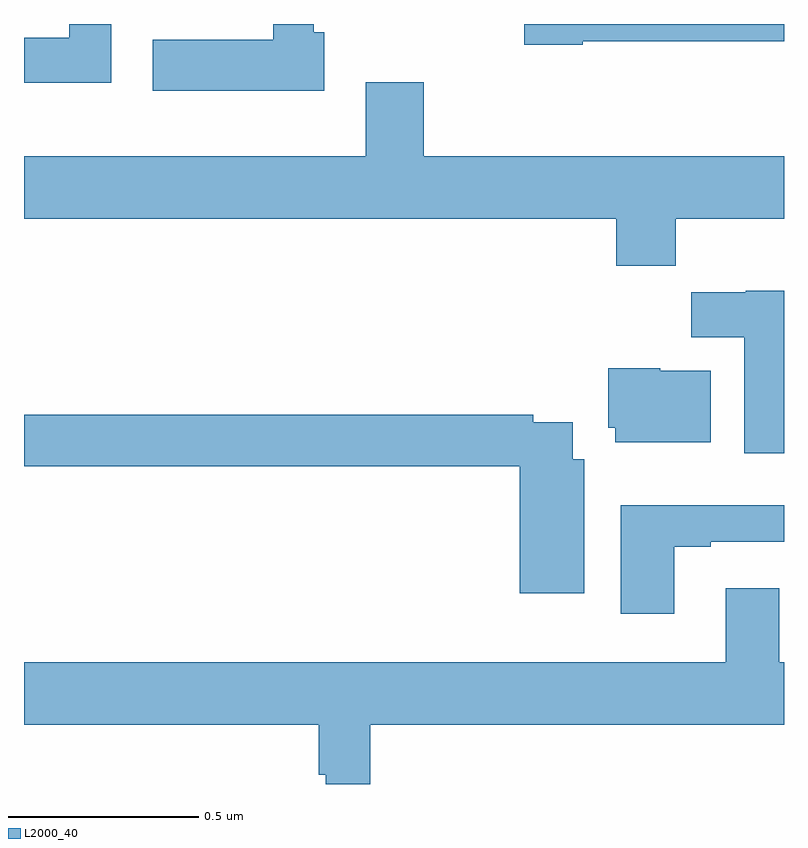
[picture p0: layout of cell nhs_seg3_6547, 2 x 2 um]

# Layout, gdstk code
import gdstk
lib = gdstk.Library(unit=1e-6, precision=1e-09)
def P(c, l, *ps):  # polygons
    for p in ps: c.add(gdstk.Polygon(p, *l))
L2000_40 = (2000, 40)

nhs_seg3_6547 = lib.new_cell('nhs_seg3_6547')
P(nhs_seg3_6547, L2000_40, [(192.229,729.4),(192.119,729.4),(192.119,729.364),(192,729.364),(192,729.246),(192.229,729.246)],
  [(192.79,729.378),(192.763,729.378),(192.763,729.4),(192.656,729.4),(192.656,729.358),(192.339,729.358),(192.339,729.224),(192.79,729.224)],
  [(193.47,729.354),(194,729.354),(194,729.4),(193.316,729.4),(193.316,729.346),(193.47,729.346)],
  [(193.715,728.888),(194,728.888),(194,729.052),(193.052,729.052),(193.052,729.247),(192.899,729.247),(192.899,729.052),(192,729.052),(192,728.888),(193.559,728.888),(193.559,728.764),(193.715,728.764)],
  [(194,728.698),(193.899,728.698),(193.899,728.694),(193.756,728.694),(193.756,728.576),(193.895,728.576),(193.895,728.27),(194,728.27)],
  [(193.807,728.488),(193.674,728.488),(193.674,728.494),(193.538,728.494),(193.538,728.337),(193.556,728.337),(193.556,728.3),(193.807,728.3)],
  [(193.474,728.254),(193.444,728.254),(193.444,728.352),(193.34,728.352),(193.34,728.372),(192,728.372),(192,728.236),(193.304,728.236),(193.304,727.902),(193.474,727.902)],
  [(193.711,728.025),(193.807,728.025),(193.807,728.037),(194,728.037),(194,728.134),(193.571,728.134),(193.571,727.848),(193.711,727.848)],
  [(192.911,727.556),(194,727.556),(194,727.72),(193.987,727.72),(193.987,727.915),(193.847,727.915),(193.847,727.72),(192,727.72),(192,727.556),(192.775,727.556),(192.775,727.424),(192.794,727.424),(192.794,727.4),(192.911,727.4)])

lib.write_gds('nhs_seg3_6547.gds')
